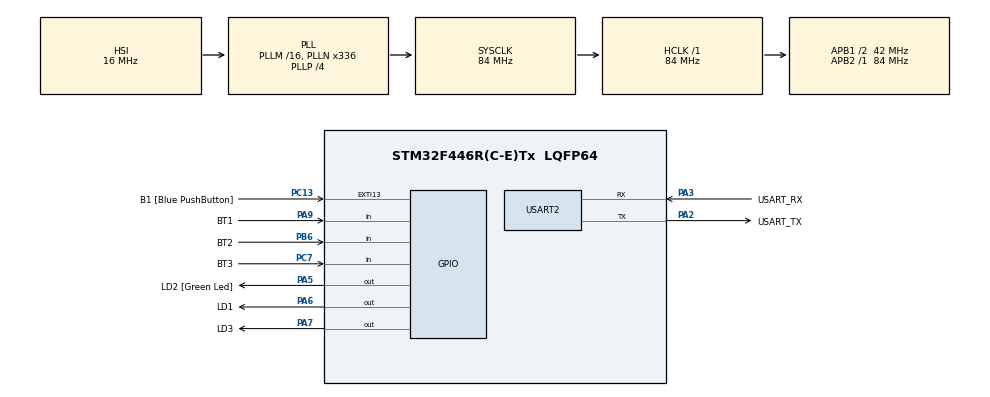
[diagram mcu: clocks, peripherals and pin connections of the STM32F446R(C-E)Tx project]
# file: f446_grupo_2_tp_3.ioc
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FREERTOS.BinarySemaphores01=Binary_Sem,Dynamic,NULL,Available
FREERTOS.INCLUDE_vTaskDelayUntil=1
FREERTOS.Tasks01=Task1,0,128,Task1_App,Default,NULL,Dynamic,NULL,NULL;Task2,0,128,Task2_App,Default,NULL,Dynamic,NULL,NULL
FREERTOS.configGENERATE_RUN_TIME_STATS=1
FREERTOS.configRECORD_STACK_HIGH_ADDRESS=1
FREERTOS.configUSE_COUNTING_SEMAPHORES=1
FREERTOS.configUSE_IDLE_HOOK=1
FREERTOS.configUSE_STATS_FORMATTING_FUNCTIONS=1
FREERTOS.configUSE_TRACE_FACILITY=1
Mcu.Family=STM32F4
Mcu.Name=STM32F446R(C-E)Tx
Mcu.Package=LQFP64
NVIC.EXTI15_10_IRQn=true\:5\:0\:false\:false\:true\:true\:true\:true\:true
NVIC.PriorityGroup=NVIC_PRIORITYGROUP_4
NVIC.TIM1_UP_TIM10_IRQn=true\:15\:0\:false\:false\:true\:false\:false\:true\:true
NVIC.TimeBase=TIM1_UP_TIM10_IRQn
NVIC.TimeBaseIP=TIM1
PA13.GPIO_Label=TMS
PA13.Mode=Serial_Wire
PA13.Signal=SYS_JTMS-SWDIO
PA14.GPIO_Label=TCK
PA14.Mode=Serial_Wire
PA14.Signal=SYS_JTCK-SWCLK
PA2.GPIO_Label=USART_TX
PA2.Mode=Asynchronous
PA2.Signal=USART2_TX
PA3.GPIO_Label=USART_RX
PA3.Mode=Asynchronous
PA3.Signal=USART2_RX
PA5.GPIO_Label=LD2 [Green Led]
PA5.Signal=GPIO_Output
PA6.GPIO_Label=LD1
PA6.Signal=GPIO_Output
PA7.GPIO_Label=LD3
PA7.Signal=GPIO_Output
PA9.GPIO_Label=BT1
PA9.GPIO_PuPd=GPIO_PULLUP
PA9.Signal=GPIO_Input
PB3.GPIO_Label=SWO
PB3.Signal=SYS_JTDO-SWO
PB6.GPIO_Label=BT2
PB6.GPIO_PuPd=GPIO_PULLUP
PB6.Signal=GPIO_Input
PC13.GPIO_Label=B1 [Blue PushButton]
PC13.GPIO_ModeDefaultEXTI=GPIO_MODE_IT_FALLING
PC13.Signal=GPXTI13
PC14-OSC32_IN.Mode=LSE-External-Oscillator
PC14-OSC32_IN.Signal=RCC_OSC32_IN
PC15-OSC32_OUT.Mode=LSE-External-Oscillator
PC15-OSC32_OUT.Signal=RCC_OSC32_OUT
PC7.GPIO_Label=BT3
PC7.GPIO_PuPd=GPIO_PULLUP
PC7.Signal=GPIO_Input
PH0-OSC_IN.Mode=HSE-External-Oscillator
PH0-OSC_IN.Signal=RCC_OSC_IN
PH1-OSC_OUT.Mode=HSE-External-Oscillator
PH1-OSC_OUT.Signal=RCC_OSC_OUT
ProjectManager.HeapSize=0x200
ProjectManager.StackSize=0x400
ProjectManager.TargetToolchain=STM32CubeIDE
RCC.48MHZClocksFreq_Value=84000000
RCC.AHBFreq_Value=84000000
RCC.APB1CLKDivider=RCC_HCLK_DIV2
RCC.APB1Freq_Value=42000000
RCC.APB1TimFreq_Value=84000000
RCC.APB2Freq_Value=84000000
RCC.APB2TimFreq_Value=84000000
RCC.CortexFreq_Value=84000000
RCC.FLatency-AdvancedSettings=FLASH_LATENCY_2
RCC.HCLKFreq_Value=84000000
RCC.HSE_VALUE=8000000
RCC.HSI_VALUE=16000000
RCC.PLLN=336
RCC.PLLP=RCC_PLLP_DIV4
RCC.SYSCLKFreq_VALUE=84000000
RCC.SYSCLKSource=RCC_SYSCLKSOURCE_PLLCLK
RCC.USBFreq_Value=168000000
RCC.VCOOutputFreq_Value=336000000
USART2.VirtualMode=VM_ASYNC
VP_FREERTOS_VS_CMSIS_V1.Mode=CMSIS_V1
VP_SYS_VS_tim1.Mode=TIM1
board=NUCLEO-F446RE

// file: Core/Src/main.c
/* USER CODE BEGIN Header */
/**
  ******************************************************************************
  * @file           : main.c
  * @brief          : Main program body
  ******************************************************************************
  * @attention
  *
  * Copyright (c) 2025 STMicroelectronics.
  * All rights reserved.
  *
  * This software is licensed under terms that can be found in the LICENSE file
  * in the root directory of this software component.
  * If no LICENSE file comes with this software, it is provided AS-IS.
  *
  ******************************************************************************
  */
/* USER CODE END Header */
#include "main.h"
#include "cmsis_os.h"

/* USER CODE BEGIN Includes */
/* Demo includes. */
#include "logger.h"
#include "dwt.h"

/* Application includes. */
#include "app.h"

/* USER CODE END Includes */

UART_HandleTypeDef huart2;

osThreadId Task1Handle;
osThreadId Task2Handle;
osSemaphoreId Binary_SemHandle;

void SystemClock_Config(void);
static void MX_GPIO_Init(void);
static void MX_USART2_UART_Init(void);
void Task1_App(void const * argument);
void Task2_App(void const * argument);

/* USER CODE BEGIN 0 */
extern void initialise_monitor_handles(void);
/* USER CODE END 0 */

int main(void)
{

  /* USER CODE BEGIN 1 */
  initialise_monitor_handles();
  /* USER CODE END 1 */

  /* MCU Configuration--------------------------------------------------------*/

  /* Reset of all peripherals, Initializes the Flash interface and the Systick. */
  HAL_Init();

  /* Configure the system clock */
  SystemClock_Config();

  /* Initialize all configured peripherals */
  MX_GPIO_Init();
  MX_USART2_UART_Init();

  /* Create the semaphores(s) */
  /* definition and creation of Binary_Sem */
  osSemaphoreDef(Binary_Sem);
  Binary_SemHandle = osSemaphoreCreate(osSemaphore(Binary_Sem), 1);

  /* Create the thread(s) */
  /* definition and creation of Task1 */
  osThreadDef(Task1, Task1_App, osPriorityNormal, 0, 128);
  Task1Handle = osThreadCreate(osThread(Task1), NULL);

  /* definition and creation of Task2 */
  osThreadDef(Task2, Task2_App, osPriorityNormal, 0, 128);
  Task2Handle = osThreadCreate(osThread(Task2), NULL);

  /* USER CODE BEGIN RTOS_THREADS */
  /* add threads, ... */
  app_init();
  /* USER CODE END RTOS_THREADS */

  /* Start scheduler */
  osKernelStart();

  /* We should never get here as control is now taken by the scheduler */

  /* Infinite loop */
  while (1)
  {

  }
}

void SystemClock_Config(void)
{
  RCC_OscInitTypeDef RCC_OscInitStruct = {0};
  RCC_ClkInitTypeDef RCC_ClkInitStruct = {0};

  /** Configure the main internal regulator output voltage
  */
  __HAL_RCC_PWR_CLK_ENABLE();
  __HAL_PWR_VOLTAGESCALING_CONFIG(PWR_REGULATOR_VOLTAGE_SCALE3);

  /** Initializes the RCC Oscillators according to the specified parameters
  * in the RCC_OscInitTypeDef structure.
  */
  RCC_OscInitStruct.OscillatorType = RCC_OSCILLATORTYPE_HSI;
  RCC_OscInitStruct.HSIState = RCC_HSI_ON;
  RCC_OscInitStruct.HSICalibrationValue = RCC_HSICALIBRATION_DEFAULT;
  RCC_OscInitStruct.PLL.PLLState = RCC_PLL_ON;
  RCC_OscInitStruct.PLL.PLLSource = RCC_PLLSOURCE_HSI;
  RCC_OscInitStruct.PLL.PLLM = 16;
  RCC_OscInitStruct.PLL.PLLN = 336;
  RCC_OscInitStruct.PLL.PLLP = RCC_PLLP_DIV4;
  RCC_OscInitStruct.PLL.PLLQ = 2;
  RCC_OscInitStruct.PLL.PLLR = 2;
  if (HAL_RCC_OscConfig(&RCC_OscInitStruct) != HAL_OK)
  {
    Error_Handler();
  }

  /** Initializes the CPU, AHB and APB buses clocks
  */
  RCC_ClkInitStruct.ClockType = RCC_CLOCKTYPE_HCLK|RCC_CLOCKTYPE_SYSCLK
                              |RCC_CLOCKTYPE_PCLK1|RCC_CLOCKTYPE_PCLK2;
  RCC_ClkInitStruct.SYSCLKSource = RCC_SYSCLKSOURCE_PLLCLK;
  RCC_ClkInitStruct.AHBCLKDivider = RCC_SYSCLK_DIV1;
  RCC_ClkInitStruct.APB1CLKDivider = RCC_HCLK_DIV2;
  RCC_ClkInitStruct.APB2CLKDivider = RCC_HCLK_DIV1;

  if (HAL_RCC_ClockConfig(&RCC_ClkInitStruct, FLASH_LATENCY_2) != HAL_OK)
  {
    Error_Handler();
  }
}

static void MX_USART2_UART_Init(void)
{

  huart2.Instance = USART2;
  huart2.Init.BaudRate = 115200;
  huart2.Init.WordLength = UART_WORDLENGTH_8B;
  huart2.Init.StopBits = UART_STOPBITS_1;
  huart2.Init.Parity = UART_PARITY_NONE;
  huart2.Init.Mode = UART_MODE_TX_RX;
  huart2.Init.HwFlowCtl = UART_HWCONTROL_NONE;
  huart2.Init.OverSampling = UART_OVERSAMPLING_16;
  if (HAL_UART_Init(&huart2) != HAL_OK)
  {
    Error_Handler();
  }

}

static void MX_GPIO_Init(void)
{
  GPIO_InitTypeDef GPIO_InitStruct = {0};

  /* GPIO Ports Clock Enable */
  __HAL_RCC_GPIOC_CLK_ENABLE();
  __HAL_RCC_GPIOH_CLK_ENABLE();
  __HAL_RCC_GPIOA_CLK_ENABLE();
  __HAL_RCC_GPIOB_CLK_ENABLE();

  /*Configure GPIO pin Output Level */
  HAL_GPIO_WritePin(GPIOA, LD2_Pin|LD1_Pin|LD3_Pin, GPIO_PIN_RESET);

  /*Configure GPIO pin : B1_Pin */
  GPIO_InitStruct.Pin = B1_Pin;
  GPIO_InitStruct.Mode = GPIO_MODE_IT_FALLING;
  GPIO_InitStruct.Pull = GPIO_NOPULL;
  HAL_GPIO_Init(B1_GPIO_Port, &GPIO_InitStruct);

  /*Configure GPIO pins : LD2_Pin LD1_Pin LD3_Pin */
  GPIO_InitStruct.Pin = LD2_Pin|LD1_Pin|LD3_Pin;
  GPIO_InitStruct.Mode = GPIO_MODE_OUTPUT_PP;
  GPIO_InitStruct.Pull = GPIO_NOPULL;
  GPIO_InitStruct.Speed = GPIO_SPEED_FREQ_LOW;
  HAL_GPIO_Init(GPIOA, &GPIO_InitStruct);

  /*Configure GPIO pin : BT3_Pin */
  GPIO_InitStruct.Pin = BT3_Pin;
  GPIO_InitStruct.Mode = GPIO_MODE_INPUT;
  GPIO_InitStruct.Pull = GPIO_PULLUP;
  HAL_GPIO_Init(BT3_GPIO_Port, &GPIO_InitStruct);

  /*Configure GPIO pin : BT1_Pin */
  GPIO_InitStruct.Pin = BT1_Pin;
  GPIO_InitStruct.Mode = GPIO_MODE_INPUT;
  GPIO_InitStruct.Pull = GPIO_PULLUP;
  HAL_GPIO_Init(BT1_GPIO_Port, &GPIO_InitStruct);

  /*Configure GPIO pin : BT2_Pin */
  GPIO_InitStruct.Pin = BT2_Pin;
  GPIO_InitStruct.Mode = GPIO_MODE_INPUT;
  GPIO_InitStruct.Pull = GPIO_PULLUP;
  HAL_GPIO_Init(BT2_GPIO_Port, &GPIO_InitStruct);

  /* EXTI interrupt init*/
  HAL_NVIC_SetPriority(EXTI15_10_IRQn, 5, 0);
  HAL_NVIC_EnableIRQ(EXTI15_10_IRQn);

  /* USER CODE BEGIN MX_GPIO_Init_2 */
  HAL_GPIO_WritePin(LD2_GPIO_Port, LD2_Pin, GPIO_PIN_SET);
  HAL_GPIO_WritePin(GPIOA, GPIO_PIN_6, GPIO_PIN_SET);
  HAL_GPIO_WritePin(GPIOA, GPIO_PIN_7, GPIO_PIN_SET);

	/*Configure GPIO pins : LD1_Pin LD3_Pin */
	GPIO_InitStruct.Pin = GPIO_PIN_6|GPIO_PIN_7;
	GPIO_InitStruct.Mode = GPIO_MODE_OUTPUT_PP;
	GPIO_InitStruct.Pull = GPIO_NOPULL;
	GPIO_InitStruct.Speed = GPIO_SPEED_FREQ_LOW;
	HAL_GPIO_Init(GPIOA, &GPIO_InitStruct);

	/*Configure GPIO pin : BT1_Pin */
	GPIO_InitStruct.Pin = GPIO_PIN_9;
	GPIO_InitStruct.Mode = GPIO_MODE_INPUT;
	GPIO_InitStruct.Pull = GPIO_NOPULL;
	HAL_GPIO_Init(GPIOA, &GPIO_InitStruct);

	/*Configure GPIO pin : BT2_Pin */
	GPIO_InitStruct.Pin = GPIO_PIN_6;
	GPIO_InitStruct.Mode = GPIO_MODE_INPUT;
	GPIO_InitStruct.Pull = GPIO_NOPULL;
	HAL_GPIO_Init(GPIOB, &GPIO_InitStruct);

	/*Configure GPIO pin : BT3_Pin */
	GPIO_InitStruct.Pin = GPIO_PIN_7;
	GPIO_InitStruct.Mode = GPIO_MODE_INPUT;
	GPIO_InitStruct.Pull = GPIO_NOPULL;
	HAL_GPIO_Init(GPIOC, &GPIO_InitStruct);

  /* USER CODE END MX_GPIO_Init_2 */
}

void Task1_App(void const * argument)
{
  for(;;)
  {
    osDelay(1);
  }
}

void Task2_App(void const * argument)
{
  for(;;)
  {
    osDelay(1);
  }
}

void HAL_TIM_PeriodElapsedCallback(TIM_HandleTypeDef *htim)
{
  if (htim->Instance == TIM1)
  {
    HAL_IncTick();
  }
}

void Error_Handler(void)
{
  __disable_irq();
  while (1)
  {
  }
}

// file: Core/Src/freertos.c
/* USER CODE BEGIN Header */
/**
  ******************************************************************************
  * File Name          : freertos.c
  * Description        : Code for freertos applications
  ******************************************************************************
  * @attention
  *
  * Copyright (c) 2025 STMicroelectronics.
  * All rights reserved.
  *
  * This software is licensed under terms that can be found in the LICENSE file
  * in the root directory of this software component.
  * If no LICENSE file comes with this software, it is provided AS-IS.
  *
  ******************************************************************************
  */
/* USER CODE END Header */

#include "FreeRTOS.h"
#include "task.h"
#include "main.h"

/* GetIdleTaskMemory prototype (linked to static allocation support) */
void vApplicationGetIdleTaskMemory( StaticTask_t **ppxIdleTaskTCBBuffer, StackType_t **ppxIdleTaskStackBuffer, uint32_t *pulIdleTaskStackSize );

/* Hook prototypes */
void configureTimerForRunTimeStats(void);
unsigned long getRunTimeCounterValue(void);
void vApplicationIdleHook(void);

/* USER CODE BEGIN 1 */
/* Functions needed when configGENERATE_RUN_TIME_STATS is on */
__weak void configureTimerForRunTimeStats(void)
{

}

__weak unsigned long getRunTimeCounterValue(void)
{
return 0;
}
/* USER CODE END 1 */

/* USER CODE BEGIN 2 */
__weak void vApplicationIdleHook( void )
{
   /* vApplicationIdleHook() will only be called if configUSE_IDLE_HOOK is set
   to 1 in FreeRTOSConfig.h. It will be called on each iteration of the idle
   task. It is essential that code added to this hook function never attempts
   to block in any way (for example, call xQueueReceive() with a block time
   specified, or call vTaskDelay()). If the application makes use of the
   vTaskDelete() API function (as this demo application does) then it is also
   important that vApplicationIdleHook() is permitted to return to its calling
   function, because it is the responsibility of the idle task to clean up
   memory allocated by the kernel to any task that has since been deleted. */
}
/* USER CODE END 2 */

/* USER CODE BEGIN GET_IDLE_TASK_MEMORY */
static StaticTask_t xIdleTaskTCBBuffer;
static StackType_t xIdleStack[configMINIMAL_STACK_SIZE];

void vApplicationGetIdleTaskMemory( StaticTask_t **ppxIdleTaskTCBBuffer, StackType_t **ppxIdleTaskStackBuffer, uint32_t *pulIdleTaskStackSize )
{
  *ppxIdleTaskTCBBuffer = &xIdleTaskTCBBuffer;
  *ppxIdleTaskStackBuffer = &xIdleStack[0];
  *pulIdleTaskStackSize = configMINIMAL_STACK_SIZE;
  /* place for user code */
}
/* USER CODE END GET_IDLE_TASK_MEMORY */
